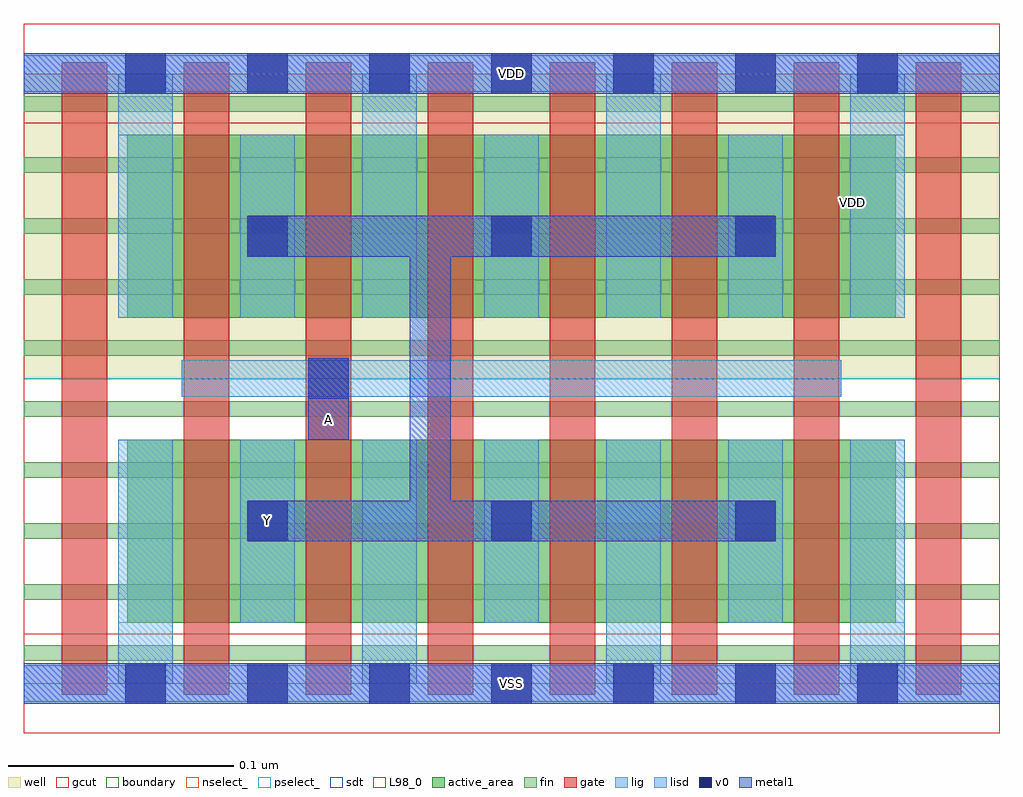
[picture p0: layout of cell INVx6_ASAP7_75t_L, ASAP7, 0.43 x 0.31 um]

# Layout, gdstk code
import gdstk
lib = gdstk.Library(unit=1e-6, precision=2.5e-10)
def R(c, l, rs):  # rectangles x0, y0, x1, y1
    for r in rs: c.add(gdstk.rectangle(r[:2], r[2:], *l))
def A(c, l, x, y, w, h, nx, ny, dx, dy):  # array of equal rectangles
    R(c, l, [(x+i*dx, y+j*dy, x+i*dx+w, y+j*dy+h) for i in range(nx) for j in range(ny)])
def P(c, l, *ps):  # polygons
    for p in ps: c.add(gdstk.Polygon(p, *l))
well = (1, 0)
fin = (2, 0)
gate = (7, 0)
gcut = (10, 0)
active_area = (11, 0)
nselect_ = (12, 0)
pselect_ = (13, 0)
lig = (16, 0)
lisd = (17, 0)
v0 = (18, 0)
metal1 = (19, 0)
sdt = (88, 0)
L98_0 = (98, 0)
boundary = (100, 0)

invx6_asap7_75t_l = lib.new_cell('INVx6_ASAP7_75t_L')
R(invx6_asap7_75t_l, well, [(0,0.135,0.432,0.27)])
A(invx6_asap7_75t_l, fin, 0, 0.01, 0.432, 0.007, 1, 10, 0, 0.027)
A(invx6_asap7_75t_l, gate, 0.017, -0.005, 0.02, 0.28, 8, 1, 0.054, 0)
R(invx6_asap7_75t_l, gcut, [(0,-0.022,0.432,0.022), (0,0.248,0.432,0.292)])
R(invx6_asap7_75t_l, active_area, [(0.046,0.027,0.386,0.108), (0.046,0.162,0.386,0.243)])
R(invx6_asap7_75t_l, nselect_, [(0,0,0.432,0.135)])
R(invx6_asap7_75t_l, pselect_, [(0,0.135,0.432,0.27)])
R(invx6_asap7_75t_l, lig, [(0,-0.008,0.432,0.008), (0.07,0.127,0.362,0.143), (0,0.262,0.432,0.278)])
A(invx6_asap7_75t_l, lisd, 0.042, 0, 0.024, 0.108, 4, 2, 0.108, 0.162)
A(invx6_asap7_75t_l, lisd, 0.096, 0.027, 0.024, 0.081, 3, 2, 0.108, 0.135)
A(invx6_asap7_75t_l, v0, 0.045, -0.009, 0.018, 0.018, 7, 2, 0.054, 0.27)
A(invx6_asap7_75t_l, v0, 0.099, 0.063, 0.018, 0.018, 3, 2, 0.108, 0.126)
R(invx6_asap7_75t_l, v0, [(0.126,0.126,0.144,0.144)])
R(invx6_asap7_75t_l, metal1, [(0,-0.009,0.432,0.009), (0.126,0.108,0.144,0.144), (0,0.261,0.432,0.279)])
P(invx6_asap7_75t_l, metal1, [(0.333,0.207),(0.099,0.207),(0.099,0.189),(0.171,0.189),(0.171,0.081),(0.099,0.081),(0.099,0.063),(0.333,0.063),(0.333,0.081),(0.189,0.081),(0.189,0.189),(0.333,0.189)])
A(invx6_asap7_75t_l, sdt, 0.042, 0.027, 0.024, 0.081, 7, 2, 0.054, 0.135)
R(invx6_asap7_75t_l, L98_0, [(0,0,0.432,0.27)])
R(invx6_asap7_75t_l, boundary, [(0,0,0.432,0.27)])
invx6_asap7_75t_l.add(gdstk.Label('Y', (0.108,0.072), layer=19, texttype=251))
invx6_asap7_75t_l.add(gdstk.Label('A', (0.135,0.117), layer=19, texttype=251))
invx6_asap7_75t_l.add(gdstk.Label('VSS', (0.216,0), layer=19, texttype=251))
invx6_asap7_75t_l.add(gdstk.Label('VDD', (0.216,0.27), layer=19, texttype=251))
invx6_asap7_75t_l.add(gdstk.Label('VDD', (0.367,0.213), layer=1, texttype=251))
invx6_asap7_75t_l.add(gdstk.Label('VSS', (0.497,0.213), layer=3, texttype=251))

lib.write_gds('INVx6_ASAP7_75t_L.gds')
